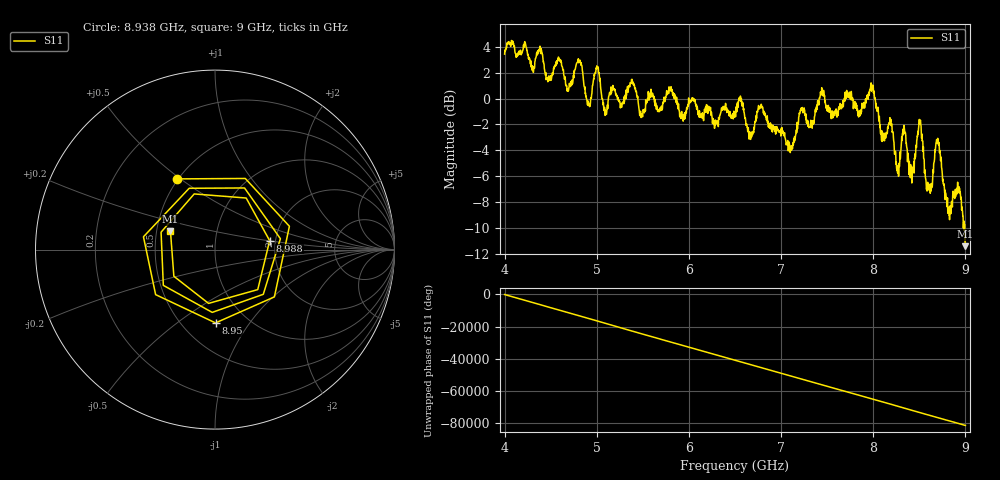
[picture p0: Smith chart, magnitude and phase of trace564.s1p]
! Created with skrf 1.8.0 (http://scikit-rf.org).
# Hz S RI R 50.0
!freq ReS11 ImS11
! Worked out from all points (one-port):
!   1601 points, 4 GHz to 9 GHz, reference 50 ohm
!   lowest |S11| = -11.4 dB at 9 GHz (marker M1), VSWR 1.73, Z = 29.6 + j6.52 ohm
!   |S11| at or under -10 dB: 8.97795 GHz to 8.978108 GHz (158.2 kHz wide, 0.00176 % of centre); 8.986849 GHz to 8.989319 GHz (2.47 MHz wide, 0.0275 % of centre); 8.992197 GHz to end of sweep
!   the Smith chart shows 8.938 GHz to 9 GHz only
!   S11 on the Smith chart (normalised r, x): 8.938 GHz: 0.49, +0.48; 8.95 GHz: 0.72, -0.70; 8.988 GHz: 1.86, +0.20; 9 GHz: 0.59, +0.13
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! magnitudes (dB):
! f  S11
! 4 GHz  3.4
! 4.625 GHz  2.5
! 5.25 GHz  -0.2
! 5.384 GHz  1.5
! 5.484 GHz  -1.4
! 5.875 GHz  -0.3
! 6.5 GHz  -1.1
! 6.678 GHz  -2.9
! 6.778 GHz  -0.7
! 7.125 GHz  -3.9
! 7.225 GHz  -0.9
! 7.75 GHz  0.2
! 7.85 GHz  -1.4
! 7.988 GHz  0.9
! 8.103 GHz  -3.2
! 8.194 GHz  -2.1
! 8.259 GHz  -5.3
! 8.328 GHz  -2.6
! 8.375 GHz  -4.2
! 8.425 GHz  -5.5
! 8.503 GHz  -2.0
! 8.6 GHz  -6.7
! 8.7 GHz  -3.1
! 8.819 GHz  -8.6
! 8.938 GHz  -7.0
! 8.95 GHz  -7.8
! 8.988 GHz  -10.2
! 9 GHz  -11.4
